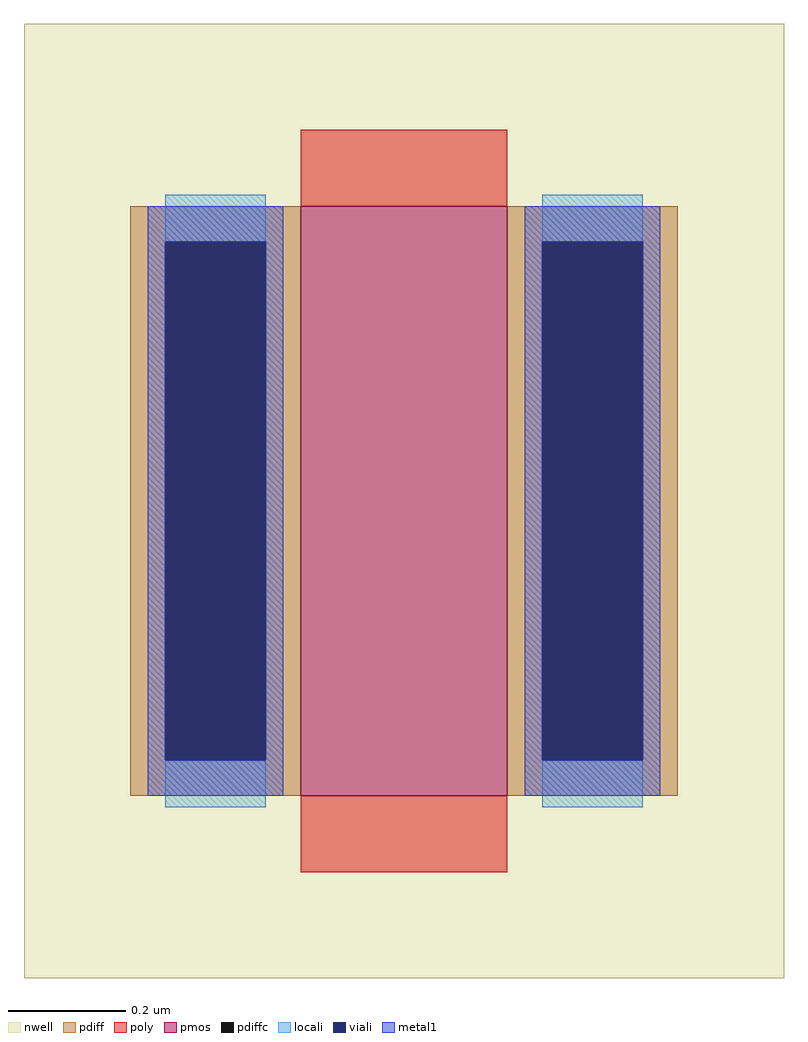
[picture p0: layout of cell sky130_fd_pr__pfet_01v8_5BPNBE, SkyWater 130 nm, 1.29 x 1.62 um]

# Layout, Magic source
magic
tech sky130A
magscale 1 2
<< nwell >>
rect -129 -162 129 162
<< pmos >>
rect -35 -100 35 100
<< pdiff >>
rect -93 88 -35 100
rect -93 -88 -81 88
rect -47 -88 -35 88
rect -93 -100 -35 -88
rect 35 88 93 100
rect 35 -88 47 88
rect 81 -88 93 88
rect 35 -100 93 -88
<< pdiffc >>
rect -81 -88 -47 88
rect 47 -88 81 88
<< poly >>
rect -35 100 35 126
rect -35 -126 35 -100
<< locali >>
rect -81 88 -47 104
rect -81 -104 -47 -88
rect 47 88 81 104
rect 47 -104 81 -88
<< viali >>
rect -81 -88 -47 88
rect 47 -88 81 88
<< metal1 >>
rect -87 88 -41 100
rect -87 -88 -81 88
rect -47 -88 -41 88
rect -87 -100 -41 -88
rect 41 88 87 100
rect 41 -88 47 88
rect 81 -88 87 88
rect 41 -100 87 -88
<< properties >>
string gencell sky130_fd_pr__pfet_01v8
string library sky130
string parameters w 1.0 l 0.35 m 1 nf 1 diffcov 100 polycov 100 guard 0 glc 1 grc 1 gtc 1 gbc 1 tbcov 100 rlcov 100 topc 0 botc 0 poverlap 0 doverlap 0 lmin 0.15 wmin 0.42 class mosfet compatible {sky130_fd_pr__pfet_01v8  sky130_fd_pr__pfet_01v8_lvt sky130_fd_pr__pfet_01v8_hvt  sky130_fd_pr__pfet_g5v0d10v5} full_metal 0 viasrc 100 viadrn 100 viagate 100 viagb 0 viagr 0 viagl 0 viagt 0
<< end >>
